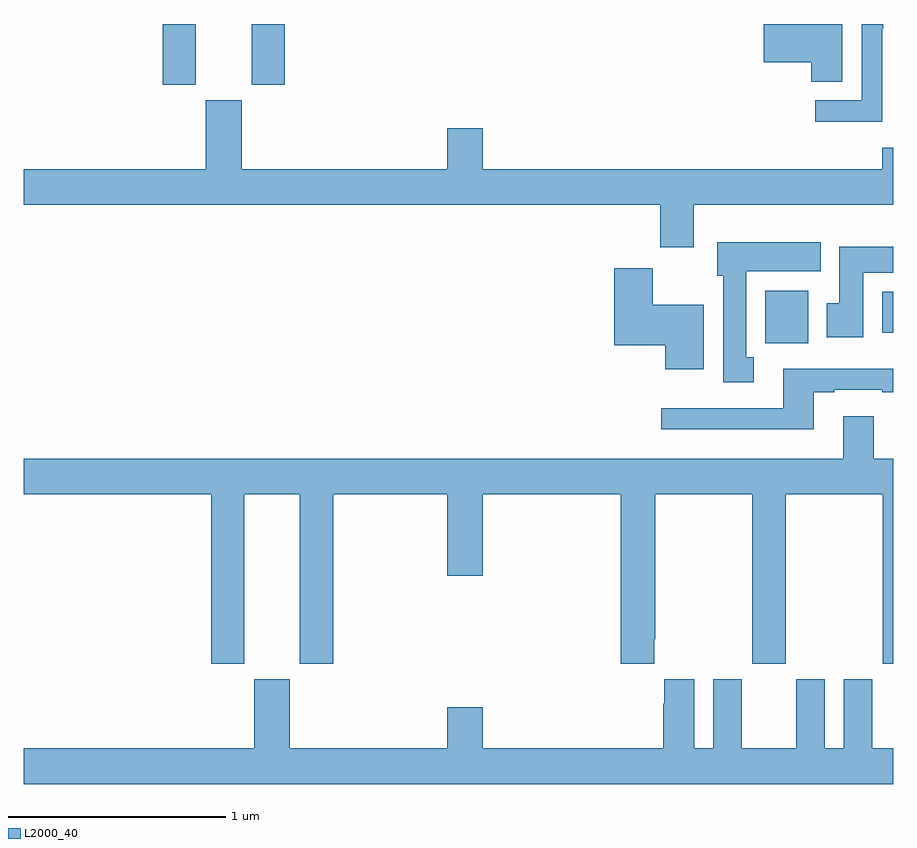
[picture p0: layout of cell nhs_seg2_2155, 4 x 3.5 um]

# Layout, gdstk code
import gdstk
lib = gdstk.Library(unit=1e-6, precision=1e-09)
def R(c, l, rs):  # rectangles x0, y0, x1, y1
    for r in rs: c.add(gdstk.rectangle(r[:2], r[2:], *l))
def P(c, l, *ps):  # polygons
    for p in ps: c.add(gdstk.Polygon(p, *l))
L2000_40 = (2000, 40)

nhs_seg2_2155 = lib.new_cell('nhs_seg2_2155')
R(nhs_seg2_2155, L2000_40, [(226.412,648.332,226.609,648.574), (226.949,648.38,227,648.568), (223.64,649.521,223.792,649.8), (224.048,649.521,224.201,649.8)])
P(nhs_seg2_2155, L2000_40, [(226.765,649.8),(226.404,649.8),(226.404,649.625),(226.622,649.625),(226.622,649.534),(226.765,649.534)],
  [(226.95,649.78),(226.953,649.78),(226.953,649.8),(226.854,649.8),(226.854,649.449),(226.641,649.449),(226.641,649.351),(226.95,649.351)],
  [(224.948,649.321),(224.948,649.132),(224.002,649.132),(224.002,649.449),(223.838,649.449),(223.838,649.132),(223,649.132),(223,648.968),(225.929,648.968),(225.929,648.774),(226.081,648.774),(226.081,648.968),(227,648.968),(227,649.231),(226.949,649.231),(226.949,649.132),(225.112,649.132),(225.112,649.321)],
  [(226.357,648.266),(226.324,648.266),(226.324,648.662),(226.666,648.662),(226.666,648.796),(226.19,648.796),(226.19,648.642),(226.217,648.642),(226.217,648.153),(226.357,648.153)],
  [(226.861,648.656),(227,648.656),(227,648.775),(226.751,648.775),(226.751,648.516),(226.694,648.516),(226.694,648.36),(226.861,648.36)],
  [(226.129,648.508),(225.894,648.508),(225.894,648.676),(225.716,648.676),(225.716,648.323),(225.95,648.323),(225.95,648.212),(226.129,648.212)],
  [(226.633,648.105),(226.729,648.105),(226.729,648.117),(226.949,648.117),(226.949,648.105),(227,648.105),(227,648.214),(226.493,648.214),(226.493,648.033),(225.933,648.033),(225.933,647.936),(226.633,647.936)],
  [(223,647.636),(223.862,647.636),(223.862,646.857),(224.014,646.857),(224.014,647.636),(224.27,647.636),(224.27,646.857),(224.423,646.857),(224.423,647.636),(224.948,647.636),(224.948,647.262),(225.112,647.262),(225.112,647.636),(225.746,647.636),(225.746,646.857),(225.901,646.857),(225.901,646.969),(225.906,646.969),(225.906,647.636),(226.351,647.636),(226.351,646.857),(226.506,646.857),(226.506,647.636),(226.951,647.636),(226.951,646.857),(227,646.857),(227,647.8),(226.909,647.8),(226.909,647.995),(226.769,647.995),(226.769,647.8),(223,647.8)],
  [(227,646.468),(226.903,646.468),(226.903,646.786),(226.772,646.786),(226.772,646.468),(226.684,646.468),(226.684,646.786),(226.553,646.786),(226.553,646.468),(226.303,646.468),(226.303,646.786),(226.172,646.786),(226.172,646.468),(226.084,646.468),(226.084,646.786),(225.947,646.786),(225.947,646.673),(225.941,646.673),(225.941,646.468),(225.112,646.468),(225.112,646.657),(224.948,646.657),(224.948,646.468),(224.224,646.468),(224.224,646.785),(224.06,646.785),(224.06,646.468),(223,646.468),(223,646.304),(227,646.304)])

lib.write_gds('nhs_seg2_2155.gds')
